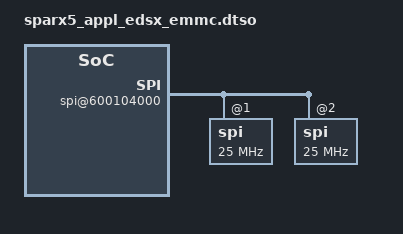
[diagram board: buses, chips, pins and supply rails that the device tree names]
// Copyright (c) 2004-2020 Microchip Technology Inc. and its subsidiaries.
// SPDX-License-Identifier: MIT

/dts-v1/;
/plugin/;

/

{
    fragment@0 {
        target-path = "/axi@600000000/spi@600104000";
        __overlay__ {
            rx-sample-delay-ns = <35>;  /* Tune for speed */
            spi@1 {
                spi-max-frequency = <0x17D7840>;  /* 25 MHz */
            };

            spi@2 {
                spi-max-frequency = <0x17D7840>;  /* 25 MHz */
            };
        };
    };
};

